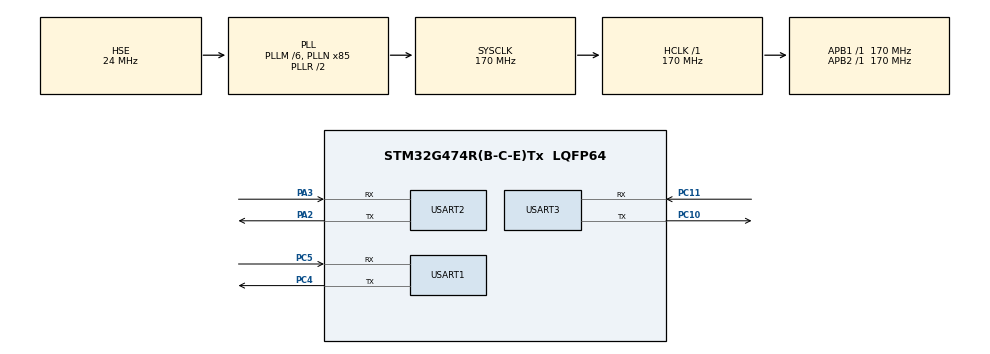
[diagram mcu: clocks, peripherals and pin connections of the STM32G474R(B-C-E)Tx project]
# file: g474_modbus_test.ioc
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Dma.Request0=USART1_RX
Dma.Request1=USART3_RX
Dma.USART1_RX.0.Direction=DMA_PERIPH_TO_MEMORY
Dma.USART1_RX.0.EventEnable=DISABLE
Dma.USART1_RX.0.Instance=DMA1_Channel1
Dma.USART1_RX.0.MemDataAlignment=DMA_MDATAALIGN_BYTE
Dma.USART1_RX.0.MemInc=DMA_MINC_ENABLE
Dma.USART1_RX.0.Mode=DMA_CIRCULAR
Dma.USART1_RX.0.PeriphDataAlignment=DMA_PDATAALIGN_BYTE
Dma.USART1_RX.0.PeriphInc=DMA_PINC_DISABLE
Dma.USART1_RX.0.Polarity=HAL_DMAMUX_REQ_GEN_RISING
Dma.USART1_RX.0.Priority=DMA_PRIORITY_LOW
Dma.USART1_RX.0.RequestNumber=1
Dma.USART1_RX.0.SignalID=NONE
Dma.USART1_RX.0.SyncEnable=DISABLE
Dma.USART1_RX.0.SyncPolarity=HAL_DMAMUX_SYNC_NO_EVENT
Dma.USART1_RX.0.SyncRequestNumber=1
Dma.USART1_RX.0.SyncSignalID=NONE
Dma.USART3_RX.1.Direction=DMA_PERIPH_TO_MEMORY
Dma.USART3_RX.1.EventEnable=DISABLE
Dma.USART3_RX.1.Instance=DMA1_Channel2
Dma.USART3_RX.1.MemDataAlignment=DMA_MDATAALIGN_BYTE
Dma.USART3_RX.1.MemInc=DMA_MINC_ENABLE
Dma.USART3_RX.1.Mode=DMA_CIRCULAR
Dma.USART3_RX.1.PeriphDataAlignment=DMA_PDATAALIGN_BYTE
Dma.USART3_RX.1.PeriphInc=DMA_PINC_DISABLE
Dma.USART3_RX.1.Polarity=HAL_DMAMUX_REQ_GEN_RISING
Dma.USART3_RX.1.Priority=DMA_PRIORITY_LOW
Dma.USART3_RX.1.RequestNumber=1
Dma.USART3_RX.1.SignalID=NONE
Dma.USART3_RX.1.SyncEnable=DISABLE
Dma.USART3_RX.1.SyncPolarity=HAL_DMAMUX_SYNC_NO_EVENT
Dma.USART3_RX.1.SyncRequestNumber=1
Dma.USART3_RX.1.SyncSignalID=NONE
Mcu.Family=STM32G4
Mcu.Name=STM32G474R(B-C-E)Tx
Mcu.Package=LQFP64
NVIC.DMA1_Channel1_IRQn=true\:0\:0\:false\:false\:true\:false\:true\:true
NVIC.DMA1_Channel2_IRQn=true\:0\:0\:false\:false\:true\:false\:true\:true
NVIC.PriorityGroup=NVIC_PRIORITYGROUP_4
NVIC.USART1_IRQn=true\:0\:0\:false\:false\:true\:true\:true\:true
NVIC.USART3_IRQn=true\:0\:0\:false\:false\:true\:true\:true\:true
PA13.Mode=Serial_Wire
PA13.Signal=SYS_JTMS-SWDIO
PA14.Mode=Serial_Wire
PA14.Signal=SYS_JTCK-SWCLK
PA2.Mode=Asynchronous
PA2.Signal=USART2_TX
PA3.Mode=Asynchronous
PA3.Signal=USART2_RX
PC10.Mode=Asynchronous
PC10.Signal=USART3_TX
PC11.Mode=Asynchronous
PC11.Signal=USART3_RX
PC4.Mode=Asynchronous
PC4.Signal=USART1_TX
PC5.Mode=Asynchronous
PC5.Signal=USART1_RX
PF0-OSC_IN.Mode=HSE-External-Clock-Source
PF0-OSC_IN.Signal=RCC_OSC_IN
ProjectManager.HeapSize=0x200
ProjectManager.StackSize=0x400
ProjectManager.TargetToolchain=CMake
RCC.ADC12Freq_Value=170000000
RCC.ADC345Freq_Value=170000000
RCC.AHBFreq_Value=170000000
RCC.APB1Freq_Value=170000000
RCC.APB1TimFreq_Value=170000000
RCC.APB2Freq_Value=170000000
RCC.APB2TimFreq_Value=170000000
RCC.CortexFreq_Value=170000000
RCC.EXTERNAL_CLOCK_VALUE=12288000
RCC.HCLKFreq_Value=170000000
RCC.HSE_VALUE=24000000
RCC.HSI48_VALUE=48000000
RCC.HSI_VALUE=16000000
RCC.LSE_VALUE=32768
RCC.PLLM=RCC_PLLM_DIV6
RCC.PLLN=85
RCC.PLLSourceVirtual=RCC_PLLSOURCE_HSE
RCC.SYSCLKFreq_VALUE=170000000
RCC.SYSCLKSource=RCC_SYSCLKSOURCE_PLLCLK
RCC.USBFreq_Value=170000000
RCC.VCOOutputFreq_Value=340000000
USART1.Parity=PARITY_EVEN
USART1.VirtualMode-Asynchronous=VM_ASYNC
USART1.WordLength=WORDLENGTH_9B
USART2.Parity=PARITY_EVEN
USART2.VirtualMode-Asynchronous=VM_ASYNC
USART2.WordLength=WORDLENGTH_9B
USART3.VirtualMode-Asynchronous=VM_ASYNC
VP_SYS_VS_DBSignals.Mode=DisableDeadBatterySignals
board=custom

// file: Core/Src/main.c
/* USER CODE BEGIN Header */
/**
  ******************************************************************************
  * @file           : main.c
  * @brief          : Main program body
  ******************************************************************************
  * @attention
  *
  * Copyright (c) 2026 STMicroelectronics.
  * All rights reserved.
  *
  * This software is licensed under terms that can be found in the LICENSE file
  * in the root directory of this software component.
  * If no LICENSE file comes with this software, it is provided AS-IS.
  *
  ******************************************************************************
  */
/* USER CODE END Header */
#include "main.h"

/* USER CODE BEGIN Includes */
#include "modbus_adapter_stm32g4.h"
#include <stdio.h>
#include "ringbuffer.h"
extern struct rt_ringbuffer modbus_rb;
#define TEST_LOOPBACK 0
/* USER CODE END Includes */

UART_HandleTypeDef huart1;
UART_HandleTypeDef huart2;
UART_HandleTypeDef huart3;
DMA_HandleTypeDef hdma_usart1_rx;
DMA_HandleTypeDef hdma_usart3_rx;

void SystemClock_Config(void);
static void MX_GPIO_Init(void);
static void MX_DMA_Init(void);
static void MX_USART1_UART_Init(void);
static void MX_USART3_UART_Init(void);
static void MX_USART2_UART_Init(void);

int main(void)
{

  /* MCU Configuration--------------------------------------------------------*/

  /* Reset of all peripherals, Initializes the Flash interface and the Systick. */
  HAL_Init();

  /* Configure the system clock */
  SystemClock_Config();

  /* Initialize all configured peripherals */
  MX_GPIO_Init();
  MX_DMA_Init();
  MX_USART1_UART_Init();
  MX_USART3_UART_Init();
  MX_USART2_UART_Init();
  /* USER CODE BEGIN 2 */
  Modbus_Init();
  printf("\r\n=================================\r\n");
  printf("Agile Modbus STM32G4 VCP Log Ready!\r\n");
  printf("=================================\r\n");

  // === Test LED PB7 (LD4) khi khởi động: Nhấp nháy 3 lần ===
  for (int i = 0; i < 3; i++) {
    HAL_GPIO_WritePin(GPIOB, GPIO_PIN_7, GPIO_PIN_SET);
    HAL_Delay(200);
    HAL_GPIO_WritePin(GPIOB, GPIO_PIN_7, GPIO_PIN_RESET);
    HAL_Delay(200);
  }
  printf("[LED] PB7 blink test done. LED should have blinked 3 times.\r\n");
  /* USER CODE END 2 */

  /* Infinite loop */
  /* USER CODE BEGIN WHILE */
#if TEST_LOOPBACK
  uint32_t last_test_time = 0;
#endif
  while (1)
  {
#if TEST_LOOPBACK
    // Gửi dữ liệu kiểm thử loopback định kỳ mỗi 2 giây
    if (HAL_GetTick() - last_test_time >= 2000)
    {
      last_test_time = HAL_GetTick();
      char test_msg[] = "G4_Loopback_OK!";

      // Kiểm tra và tự động xóa các lỗi ngoại vi UART (Overrun, Frame Error, Noise)
      if (__HAL_UART_GET_FLAG(&huart1, UART_FLAG_ORE) != RESET) {
        printf("[Loopback] Overrun Error (ORE) detected! Clearing...\r\n");
        __HAL_UART_CLEAR_FLAG(&huart1, UART_CLEAR_OREF);
      }
      if (__HAL_UART_GET_FLAG(&huart1, UART_FLAG_FE) != RESET) {
        printf("[Loopback] Framing Error (FE) detected! Clearing...\r\n");
        __HAL_UART_CLEAR_FLAG(&huart1, UART_CLEAR_FEF);
      }
      if (__HAL_UART_GET_FLAG(&huart1, UART_FLAG_NE) != RESET) {
        printf("[Loopback] Noise Error (NE) detected! Clearing...\r\n");
        __HAL_UART_CLEAR_FLAG(&huart1, UART_CLEAR_NEF);
      }

      uint32_t dma_cnt_before = __HAL_DMA_GET_COUNTER(huart1.hdmarx);
      printf("[Loopback] Transmitting: %s (DMA NDTR before: %d)\r\n", test_msg, (int)dma_cnt_before);

      // Gửi chuỗi qua USART1_TX (PC4)
      HAL_UART_Transmit(&huart1, (uint8_t *)test_msg, sizeof(test_msg), 100);

      // Chờ 150ms để DMA và ngắt IDLE nhận hết dữ liệu về PC5
      HAL_Delay(150);

      uint32_t dma_cnt_after = __HAL_DMA_GET_COUNTER(huart1.hdmarx);
      printf("[Loopback] DMA NDTR after: %d\r\n", (int)dma_cnt_after);

      // Kiểm tra xem có dữ liệu trong ring buffer nhận được không
      uint32_t rx_len = rt_ringbuffer_data_len(&usart1_rb);
      if (rx_len > 0)
      {
        uint8_t rx_buf[64] = {0};
        rt_ringbuffer_get(&usart1_rb, rx_buf, rx_len);
        printf("[Loopback] Success! Received: %s\r\n\r\n", rx_buf);
      }
      else
      {
        printf("[Loopback] Failed! No data received. (Please check if PC4 is shorted to PC5)\r\n\r\n");
      }
    }
#else
    Modbus_Process(); // Vẫn giữ Modbus chạy ngầm
#endif
    /* USER CODE END WHILE */

  }
}

void SystemClock_Config(void)
{
  RCC_OscInitTypeDef RCC_OscInitStruct = {0};
  RCC_ClkInitTypeDef RCC_ClkInitStruct = {0};

  /** Configure the main internal regulator output voltage
  */
  HAL_PWREx_ControlVoltageScaling(PWR_REGULATOR_VOLTAGE_SCALE1_BOOST);

  /** Initializes the RCC Oscillators according to the specified parameters
  * in the RCC_OscInitTypeDef structure.
  */
  RCC_OscInitStruct.OscillatorType = RCC_OSCILLATORTYPE_HSE;
  RCC_OscInitStruct.HSEState = RCC_HSE_BYPASS;
  RCC_OscInitStruct.PLL.PLLState = RCC_PLL_ON;
  RCC_OscInitStruct.PLL.PLLSource = RCC_PLLSOURCE_HSE;
  RCC_OscInitStruct.PLL.PLLM = RCC_PLLM_DIV6;
  RCC_OscInitStruct.PLL.PLLN = 85;
  RCC_OscInitStruct.PLL.PLLP = RCC_PLLP_DIV2;
  RCC_OscInitStruct.PLL.PLLQ = RCC_PLLQ_DIV2;
  RCC_OscInitStruct.PLL.PLLR = RCC_PLLR_DIV2;
  if (HAL_RCC_OscConfig(&RCC_OscInitStruct) != HAL_OK)
  {
    Error_Handler();
  }

  /** Initializes the CPU, AHB and APB buses clocks
  */
  RCC_ClkInitStruct.ClockType = RCC_CLOCKTYPE_HCLK|RCC_CLOCKTYPE_SYSCLK
                              |RCC_CLOCKTYPE_PCLK1|RCC_CLOCKTYPE_PCLK2;
  RCC_ClkInitStruct.SYSCLKSource = RCC_SYSCLKSOURCE_PLLCLK;
  RCC_ClkInitStruct.AHBCLKDivider = RCC_SYSCLK_DIV1;
  RCC_ClkInitStruct.APB1CLKDivider = RCC_HCLK_DIV1;
  RCC_ClkInitStruct.APB2CLKDivider = RCC_HCLK_DIV1;

  if (HAL_RCC_ClockConfig(&RCC_ClkInitStruct, FLASH_LATENCY_4) != HAL_OK)
  {
    Error_Handler();
  }
}

static void MX_USART1_UART_Init(void)
{

  huart1.Instance = USART1;
  huart1.Init.BaudRate = 115200;
  huart1.Init.WordLength = UART_WORDLENGTH_9B;
  huart1.Init.StopBits = UART_STOPBITS_1;
  huart1.Init.Parity = UART_PARITY_EVEN;
  huart1.Init.Mode = UART_MODE_TX_RX;
  huart1.Init.HwFlowCtl = UART_HWCONTROL_NONE;
  huart1.Init.OverSampling = UART_OVERSAMPLING_16;
  huart1.Init.OneBitSampling = UART_ONE_BIT_SAMPLE_DISABLE;
  huart1.Init.ClockPrescaler = UART_PRESCALER_DIV1;
  huart1.AdvancedInit.AdvFeatureInit = UART_ADVFEATURE_NO_INIT;
  if (HAL_UART_Init(&huart1) != HAL_OK)
  {
    Error_Handler();
  }
  if (HAL_UARTEx_SetTxFifoThreshold(&huart1, UART_TXFIFO_THRESHOLD_1_8) != HAL_OK)
  {
    Error_Handler();
  }
  if (HAL_UARTEx_SetRxFifoThreshold(&huart1, UART_RXFIFO_THRESHOLD_1_8) != HAL_OK)
  {
    Error_Handler();
  }
  if (HAL_UARTEx_DisableFifoMode(&huart1) != HAL_OK)
  {
    Error_Handler();
  }

}

static void MX_USART2_UART_Init(void)
{

  huart2.Instance = USART2;
  huart2.Init.BaudRate = 115200;
  huart2.Init.WordLength = UART_WORDLENGTH_8B;
  huart2.Init.StopBits = UART_STOPBITS_1;
  huart2.Init.Parity = UART_PARITY_NONE;
  huart2.Init.Mode = UART_MODE_TX_RX;
  huart2.Init.HwFlowCtl = UART_HWCONTROL_NONE;
  huart2.Init.OverSampling = UART_OVERSAMPLING_16;
  huart2.Init.OneBitSampling = UART_ONE_BIT_SAMPLE_DISABLE;
  huart2.Init.ClockPrescaler = UART_PRESCALER_DIV1;
  huart2.AdvancedInit.AdvFeatureInit = UART_ADVFEATURE_NO_INIT;
  if (HAL_UART_Init(&huart2) != HAL_OK)
  {
    Error_Handler();
  }
  if (HAL_UARTEx_SetTxFifoThreshold(&huart2, UART_TXFIFO_THRESHOLD_1_8) != HAL_OK)
  {
    Error_Handler();
  }
  if (HAL_UARTEx_SetRxFifoThreshold(&huart2, UART_RXFIFO_THRESHOLD_1_8) != HAL_OK)
  {
    Error_Handler();
  }
  if (HAL_UARTEx_DisableFifoMode(&huart2) != HAL_OK)
  {
    Error_Handler();
  }

}

static void MX_USART3_UART_Init(void)
{

  huart3.Instance = USART3;
  huart3.Init.BaudRate = 115200;
  huart3.Init.WordLength = UART_WORDLENGTH_9B;
  huart3.Init.StopBits = UART_STOPBITS_1;
  huart3.Init.Parity = UART_PARITY_EVEN;
  huart3.Init.Mode = UART_MODE_TX_RX;
  huart3.Init.HwFlowCtl = UART_HWCONTROL_NONE;
  huart3.Init.OverSampling = UART_OVERSAMPLING_16;
  huart3.Init.OneBitSampling = UART_ONE_BIT_SAMPLE_DISABLE;
  huart3.Init.ClockPrescaler = UART_PRESCALER_DIV1;
  huart3.AdvancedInit.AdvFeatureInit = UART_ADVFEATURE_NO_INIT;
  if (HAL_UART_Init(&huart3) != HAL_OK)
  {
    Error_Handler();
  }
  if (HAL_UARTEx_SetTxFifoThreshold(&huart3, UART_TXFIFO_THRESHOLD_1_8) != HAL_OK)
  {
    Error_Handler();
  }
  if (HAL_UARTEx_SetRxFifoThreshold(&huart3, UART_RXFIFO_THRESHOLD_1_8) != HAL_OK)
  {
    Error_Handler();
  }
  if (HAL_UARTEx_DisableFifoMode(&huart3) != HAL_OK)
  {
    Error_Handler();
  }

}

static void MX_DMA_Init(void)
{

  /* DMA controller clock enable */
  __HAL_RCC_DMAMUX1_CLK_ENABLE();
  __HAL_RCC_DMA1_CLK_ENABLE();

  /* DMA interrupt init */
  /* DMA1_Channel1_IRQn interrupt configuration */
  HAL_NVIC_SetPriority(DMA1_Channel1_IRQn, 0, 0);
  HAL_NVIC_EnableIRQ(DMA1_Channel1_IRQn);
  /* DMA1_Channel2_IRQn interrupt configuration */
  HAL_NVIC_SetPriority(DMA1_Channel2_IRQn, 0, 0);
  HAL_NVIC_EnableIRQ(DMA1_Channel2_IRQn);

}

static void MX_GPIO_Init(void)
{

  /* GPIO Ports Clock Enable */
  __HAL_RCC_GPIOF_CLK_ENABLE();
  __HAL_RCC_GPIOA_CLK_ENABLE();
  __HAL_RCC_GPIOC_CLK_ENABLE();

}

/* USER CODE BEGIN 4 */
#ifdef __GNUC__
#define PUTCHAR_PROTOTYPE int __io_putchar(int ch)
#else
#define PUTCHAR_PROTOTYPE int fputc(int ch, FILE *f)
#endif

extern UART_HandleTypeDef huart2;

PUTCHAR_PROTOTYPE
{
  HAL_UART_Transmit(&huart2, (uint8_t *)&ch, 1, 10);
  return ch;
}
/* USER CODE END 4 */

void Error_Handler(void)
{
  __disable_irq();
  while (1)
  {
  }
}
